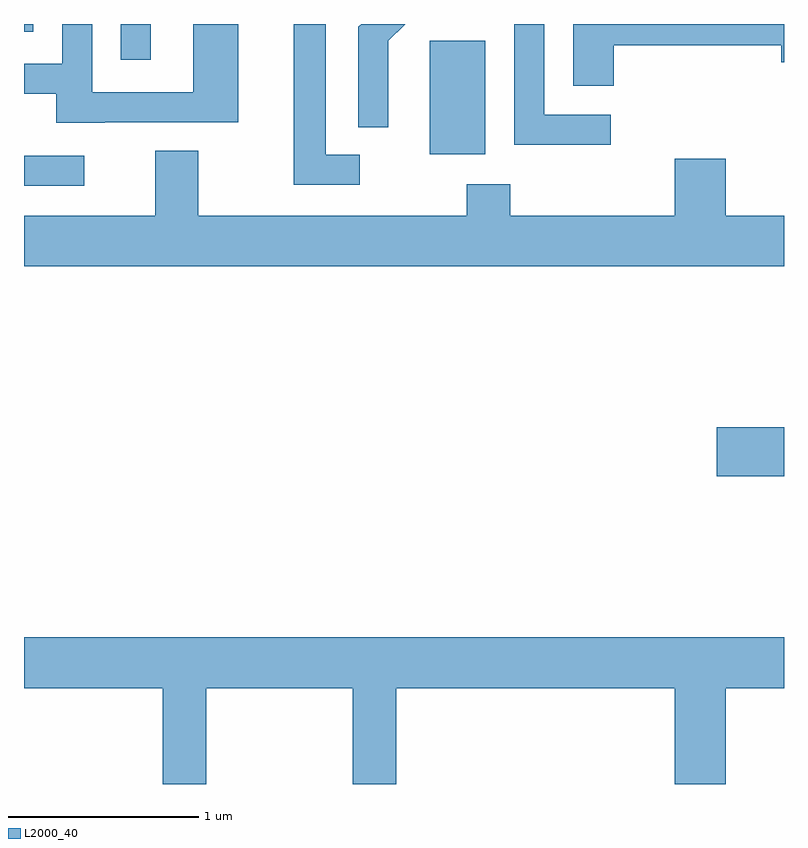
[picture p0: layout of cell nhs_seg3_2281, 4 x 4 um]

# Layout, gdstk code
import gdstk
lib = gdstk.Library(unit=1e-6, precision=1e-09)
def R(c, l, rs):  # rectangles x0, y0, x1, y1
    for r in rs: c.add(gdstk.rectangle(r[:2], r[2:], *l))
def P(c, l, *ps):  # polygons
    for p in ps: c.add(gdstk.Polygon(p, *l))
L2000_40 = (2000, 40)

nhs_seg3_2281 = lib.new_cell('nhs_seg3_2281')
R(nhs_seg3_2281, L2000_40, [(255.256,1191.511,255.611,1191.769), (251.611,1193.041,251.928,1193.199), (253.746,1193.206,254.039,1193.804), (252.121,1193.703,252.279,1193.892), (251.611,1193.851,251.659,1193.892)])
P(nhs_seg3_2281, L2000_40, [(254.698,1193.414),(254.349,1193.414),(254.349,1193.892),(254.191,1193.892),(254.191,1193.256),(254.698,1193.256)],
  [(253.529,1193.804),(253.617,1193.892),(253.386,1193.892),(253.371,1193.877),(253.371,1193.348),(253.529,1193.348)],
  [(252.035,1193.376),(252.739,1193.376),(252.739,1193.892),(252.501,1193.892),(252.501,1193.534),(251.969,1193.534),(251.969,1193.892),(251.811,1193.892),(251.811,1193.684),(251.611,1193.684),(251.611,1193.526),(251.781,1193.526),(251.781,1193.371),(252.035,1193.371)],
  [(253.378,1193.204),(253.199,1193.204),(253.199,1193.892),(253.031,1193.892),(253.031,1193.046),(253.378,1193.046)],
  [(254.714,1193.781),(255.596,1193.781),(255.596,1193.691),(255.611,1193.691),(255.611,1193.892),(254.501,1193.892),(254.501,1193.566),(254.714,1193.566)],
  [(255.611,1192.884),(255.304,1192.884),(255.304,1193.184),(255.036,1193.184),(255.036,1192.884),(254.169,1192.884),(254.169,1193.049),(253.941,1193.049),(253.941,1192.884),(252.529,1192.884),(252.529,1193.224),(252.301,1193.224),(252.301,1192.884),(251.611,1192.884),(251.611,1192.616),(255.611,1192.616)],
  [(252.569,1190.396),(253.341,1190.396),(253.341,1189.892),(253.569,1189.892),(253.569,1190.396),(255.036,1190.396),(255.036,1189.892),(255.304,1189.892),(255.304,1190.396),(255.611,1190.396),(255.611,1190.664),(251.611,1190.664),(251.611,1190.396),(252.341,1190.396),(252.341,1189.892),(252.569,1189.892)])

lib.write_gds('nhs_seg3_2281.gds')
